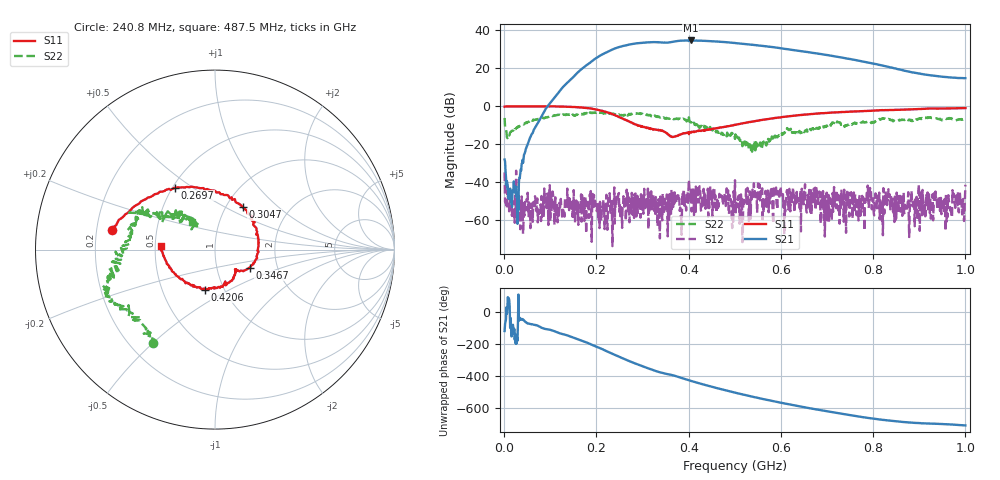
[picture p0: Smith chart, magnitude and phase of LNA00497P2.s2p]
! Created with skrf 1.9.0 (http://scikit-rf.org).
# Hz S RI R 50.0
!freq ReS11 ImS11 ReS21 ImS21 ReS12 ImS12 ReS22 ImS22
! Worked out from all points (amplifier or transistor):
!   1001 points, 1 MHz to 1 GHz, reference 50 ohm
!   highest |S21| = 34.7 dB at 404.6 MHz (marker M1)
!   |S21| within 3 dB of that: 256.3 MHz to 565.5 MHz (309.2 MHz wide, 75.2 % of centre)
!   unconditionally stable (mu >= 1): 238.9 MHz to 303.6 MHz; 303.8 MHz to 400 MHz; 401.1 MHz to end of sweep (the widest 3 of 38)
!   at 166.8 MHz: K = 0.46, MSG = 32.8 dB, |S12| = -46.3 dB
!   at 500.5 MHz: K = 1.08, MAG = 34.4 dB, |S12| = -38.9 dB
!   at 1 GHz: K = 1.83, MAG = 22.8 dB, |S12| = -41.3 dB
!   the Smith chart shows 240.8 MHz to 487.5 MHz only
!   S11 on the Smith chart (normalised r, x): 240.8 MHz: 0.26, +0.09; 269.7 MHz: 0.52, +0.43; 304.7 MHz: 1.19, +0.62; 346.7 MHz: 1.44, -0.30; 420.6 MHz: 0.81, -0.38; 487.5 MHz: 0.54, +0.03
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1000000  0.9845 0.00894  -0.0183 -0.0356  -0.00931 0.0158  0.3661 0.3369
1.08892e8  0.5312 -0.8443  -0.7971 -1.47  -2.41e-05 0.000752  0.4208 -0.3813
1.67833e8  -0.2128 -0.9112  -9.6 -0.5467  -0.000413 0.000827  0.0268 -0.6333
2.08792e8  -0.6611 -0.4197  -15.36 15.74  0.00123 -7.3e-05  -0.2488 -0.6463
2.4076e8  -0.5735 0.1107  -1.862 33.65  -0.00308 -6.08e-05  -0.3454 -0.5194
2.69731e8  -0.2211 0.3452  22.93 35.05  -0.00313 0.00267  -0.4928 -0.332
3.04696e8  0.1535 0.2382  45.63 14.34  -0.00181 0.00139  -0.5932 -0.1724
3.34666e8  0.2429 -0.0113  47.82 -10.2  -0.00341 0.00119  -0.5385 -0.0242
3.46654e8  0.1923 -0.1  44.47 -17.76  0.0013 0.00106  -0.4993 0.0241
3.75625e8  0.1162 -0.1223  39.26 -35.32  -0.00397 0.00225  -0.4426 0.1804
4.04596e8  0.031 -0.2057  20.17 -50.56  -0.000141 0.00317  -0.3301 0.1959
4.2058e8  -0.0561 -0.2225  7.589 -53.29  0.000896 0.00713  -0.2216 0.1935
4.5055e8  -0.2009 -0.1533  -13.66 -50.5  0.00385 0.000758  -0.1705 0.1937
4.87513e8  -0.3022 0.0223  -32.46 -35.52  0.0013 0.000663  -0.1261 0.155
5.005e8  -0.3133 0.1039  -36.79 -28.98  0.0114 -0.000592  -0.095 0.1024
5.4046e8  -0.2517 0.3171  -40.7 -8.442  0.00434 -0.000234  -0.0872 0.0341
5.88412e8  -0.0569 0.4941  -33.72 11.1  0.0039 -0.00291  -0.1389 -0.063
6.26374e8  0.1225 0.5516  -23.54 19.47  0.00584 -0.00459  -0.1849 -0.081
6.67333e8  0.3261 0.5426  -12.17 22.74  -0.00141 -0.005  -0.2554 -0.0449
7.51249e8  0.6252 0.3789  3.81 17.15  -0.000464 0.00278  -0.3486 0.0688
8.34166e8  0.7863 0.1418  7.789 7.601  -0.00374 -0.00183  -0.4311 0.1659
1e9  0.8136 -0.3953  5.387 1.304  -0.00824 -0.00267  -0.0941 0.4355
